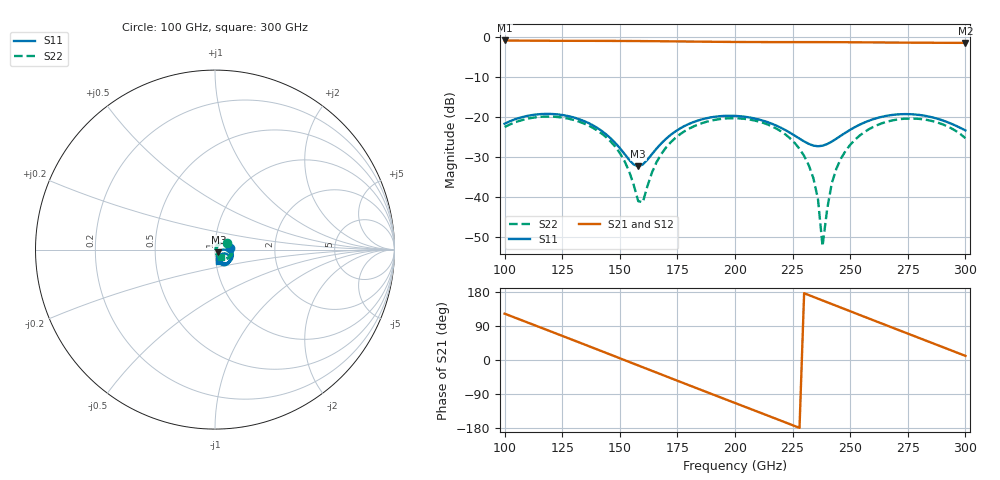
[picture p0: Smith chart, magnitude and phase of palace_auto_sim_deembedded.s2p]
! Created with skrf 1.11.0 (http://scikit-rf.org).
# GHz S DB R 50.0
!freq dBS11 angS11 dBS21 angS21 dBS12 angS12 dBS22 angS22
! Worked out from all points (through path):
!   101 points, 100 GHz to 300 GHz, reference 50 ohm
!   highest |S21| = -0.99 dB at 100 GHz (marker M1); lowest = -1.6 dB at 300 GHz (marker M2)
!   group delay of S21, straight-line fit = 6.55 ps
!   lowest |S11| = -32.4 dB at 158 GHz (marker M3), VSWR 1.05, Z = 51.9 - j1.52 ohm
!   |S11| at or under -10 dB: start of sweep to end of sweep
!   |S22| runs from -52.4 to -20.0 dB; largest |S21 - S12| = 1.5e-13
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100  -21.79 5.0  -0.99 122.3  -0.99 122.3  -22.61 27.8
116  -19.37 -25.9  -1.06 84.8  -1.06 84.8  -20.05 -2.8
134  -21.00 -60.5  -1.08 42.5  -1.08 42.5  -21.63 -38.7
150  -27.87 -74.4  -1.11 4.6  -1.11 4.6  -29.09 -65.1
154  -30.75 -63.8  -1.12 -4.9  -1.12 -4.9  -33.61 -64.6
158  -32.44 -37.8  -1.14 -14.4  -1.14 -14.4  -41.13 -32.9
160  -31.96 -23.1  -1.15 -19.1  -1.15 -19.1  -41.40 15.3
164  -29.35 -5.1  -1.17 -28.6  -1.17 -28.6  -33.90 49.7
168  -26.70 -0.1  -1.19 -38.1  -1.19 -38.1  -29.36 50.7
184  -20.97 -16.5  -1.28 -75.9  -1.28 -75.9  -21.99 24.7
200  -19.83 -42.2  -1.36 -113.4  -1.36 -113.4  -20.41 -7.4
222  -23.42 -67.2  -1.40 -165.0  -1.40 -165.0  -24.52 -53.8
230  -26.21 -61.6  -1.40 176.1  -1.40 176.1  -29.82 -70.1
234  -27.25 -51.3  -1.40 166.7  -1.40 166.7  -35.33 -76.0
236  -27.41 -44.7  -1.40 161.9  -1.40 161.9  -40.55 -74.9
238  -27.28 -38.0  -1.40 157.2  -1.40 157.2  -52.37 -33.4
242  -26.25 -27.1  -1.41 147.7  -1.41 147.7  -36.67 70.6
246  -24.76 -21.5  -1.42 138.2  -1.42 138.2  -30.47 65.5
256  -21.52 -23.9  -1.46 114.5  -1.46 114.5  -23.93 44.8
268  -19.61 -38.6  -1.51 86.2  -1.51 86.2  -20.99 18.1
282  -19.76 -57.9  -1.56 53.2  -1.56 53.2  -20.72 -13.2
300  -23.44 -68.8  -1.59 10.9  -1.59 10.9  -25.38 -53.2
